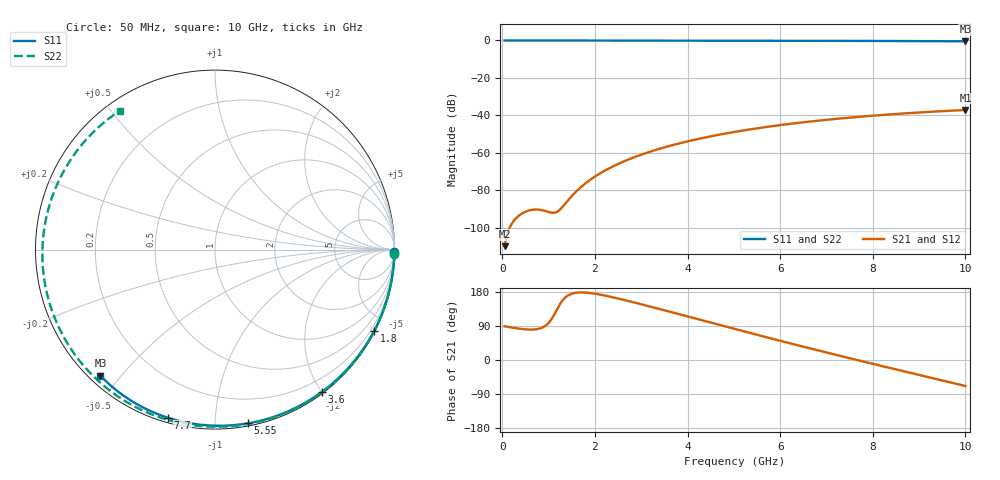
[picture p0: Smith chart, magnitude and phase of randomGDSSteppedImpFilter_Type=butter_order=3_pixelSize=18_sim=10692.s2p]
! freq	dB(S11)	phase(S11)	dB(S12)	phase(S12)
!  dB(S21)	phase(S21)	dB(S22)	phase(S22)
!S-par simulation data
#  GHz  S  DB  R 50
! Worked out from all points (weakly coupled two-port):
!   200 points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, 50 MHz to 10 GHz, reference 50 ohm
!   highest |S21| = -37.15 dB at 10 GHz (marker M1); lowest = -109.9 dB at 50 MHz (marker M2)
!   lowest |S11| = -0.4 dB at 10 GHz (marker M3), VSWR 38.62, Z = 1.55 - j22.1 ohm
!   |S11| at or under -10 dB: nowhere
!   |S22| runs from -0.6 to 0.0 dB; largest |S21 - S12| = 0
!   S11 on the Smith chart (normalised r, x): 50 MHz: open; 1.8 GHz: 0.04, -4.15; 3.6 GHz: 0.02, -2.01; 5.55 GHz: 0.02, -1.21; 7.7 GHz: 0.02, -0.76; 10 GHz: 0.03, -0.44
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0.05  -0.00 -0.8  -109.89 89.0  -109.89 89.0  -0.00 -1.5
0.4  -0.01 -6.1  -92.80 82.1  -92.80 82.1  -0.02 -11.9
0.8  -0.02 -12.2  -90.42 82.8  -90.42 82.8  -0.03 -23.6
1.6  -0.03 -24.2  -80.57 177.6  -80.57 177.6  -0.06 -46.5
1.65  -0.03 -24.9  -79.39 178.2  -79.39 178.2  -0.06 -47.9
1.75  -0.03 -26.4  -77.24 178.3  -77.24 178.3  -0.06 -50.7
1.8  -0.03 -27.1  -76.24 177.9  -76.24 177.9  -0.06 -52.0
2.1  -0.04 -31.5  -71.16 172.8  -71.16 172.8  -0.07 -60.2
2.5  -0.05 -37.4  -65.98 162.3  -65.98 162.3  -0.09 -70.8
2.9  -0.06 -43.1  -61.91 150.3  -61.91 150.3  -0.10 -81.0
3.4  -0.07 -50.2  -57.83 134.4  -57.83 134.4  -0.12 -93.4
3.6  -0.07 -53.0  -56.42 127.9  -56.42 127.9  -0.12 -98.1
4.3  -0.09 -62.6  -52.24 105.1  -52.24 105.1  -0.15 -114.3
5.05  -0.11 -72.7  -48.71 80.9  -48.71 80.9  -0.19 -130.8
5.55  -0.13 -79.2  -46.76 64.9  -46.76 64.9  -0.21 -141.4
6.15  -0.15 -86.8  -44.74 46.0  -44.74 46.0  -0.25 -153.8
6.7  -0.18 -93.6  -43.16 29.0  -43.16 29.0  -0.29 -165.1
7.2  -0.21 -99.7  -41.90 13.8  -41.90 13.8  -0.32 -175.3
7.7  -0.24 -105.7  -40.79 -1.2  -40.79 -1.2  -0.36 174.4
8.35  -0.29 -113.4  -39.53 -20.4  -39.53 -20.4  -0.42 160.9
9.15  -0.36 -122.6  -38.24 -43.8  -38.24 -43.8  -0.49 143.7
10  -0.45 -132.2  -37.15 -68.6  -37.15 -68.6  -0.56 124.4
